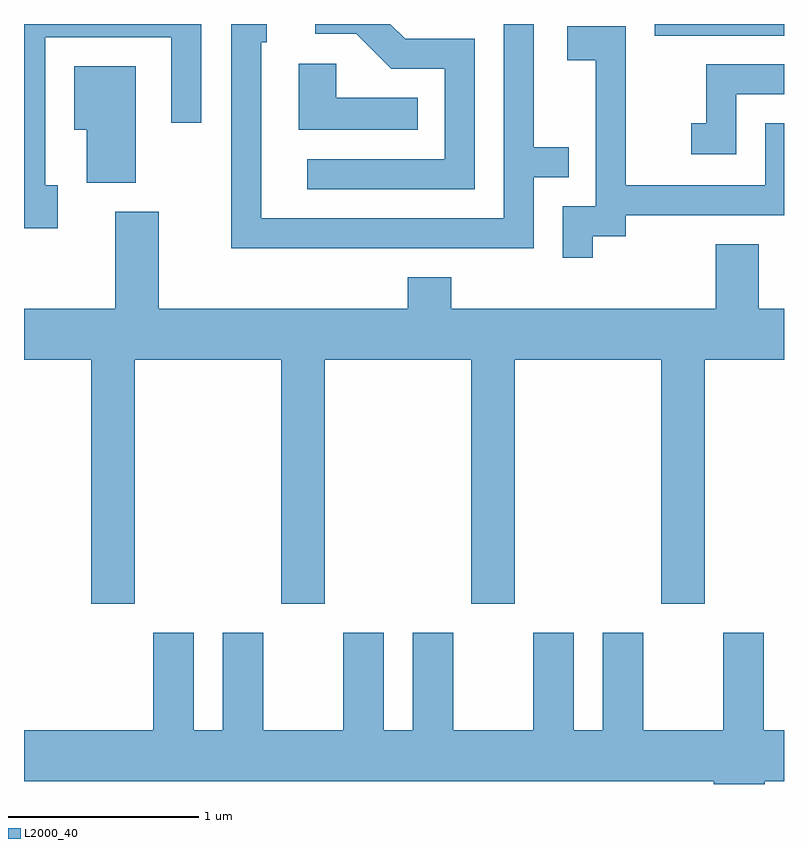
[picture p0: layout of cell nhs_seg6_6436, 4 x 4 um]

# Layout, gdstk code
import gdstk
lib = gdstk.Library(unit=1e-6, precision=1e-09)
def R(c, l, rs):  # rectangles x0, y0, x1, y1
    for r in rs: c.add(gdstk.rectangle(r[:2], r[2:], *l))
def P(c, l, *ps):  # polygons
    for p in ps: c.add(gdstk.Polygon(p, *l))
L2000_40 = (2000, 40)

nhs_seg6_6436 = lib.new_cell('nhs_seg6_6436')
R(nhs_seg6_6436, L2000_40, [(382.931,1636.101,383.611,1636.162)])
P(nhs_seg6_6436, L2000_40, [(379.789,1635.314),(379.724,1635.314),(379.724,1636.091),(380.386,1636.091),(380.386,1635.643),(380.544,1635.643),(380.544,1636.162),(379.611,1636.162),(379.611,1635.086),(379.789,1635.086)],
  [(382.294,1635.356),(382.478,1635.356),(382.478,1635.514),(382.294,1635.514),(382.294,1636.162),(382.136,1636.162),(382.136,1635.139),(380.859,1635.139),(380.859,1636.066),(380.889,1636.066),(380.889,1636.162),(380.701,1636.162),(380.701,1634.981),(382.294,1634.981)],
  [(381.984,1636.084),(381.617,1636.084),(381.539,1636.162),(381.143,1636.162),(381.143,1636.111),(381.359,1636.111),(381.544,1635.926),(381.826,1635.926),(381.826,1635.449),(381.103,1635.449),(381.103,1635.291),(381.984,1635.291)],
  [(382.604,1635.046),(382.779,1635.046),(382.779,1635.156),(383.611,1635.156),(383.611,1635.639),(383.511,1635.639),(383.511,1635.314),(382.779,1635.314),(382.779,1636.149),(382.471,1636.149),(382.471,1635.971),(382.621,1635.971),(382.621,1635.204),(382.446,1635.204),(382.446,1634.933),(382.604,1634.933)],
  [(381.683,1635.774),(381.254,1635.774),(381.254,1635.954),(381.056,1635.954),(381.056,1635.606),(381.683,1635.606)],
  [(383.359,1635.791),(383.611,1635.791),(383.611,1635.949),(383.201,1635.949),(383.201,1635.639),(383.123,1635.639),(383.123,1635.476),(383.359,1635.476)],
  [(380.199,1635.939),(379.876,1635.939),(379.876,1635.606),(379.941,1635.606),(379.941,1635.326),(380.199,1635.326)],
  [(380.194,1634.396),(380.966,1634.396),(380.966,1633.111),(381.194,1633.111),(381.194,1634.396),(381.966,1634.396),(381.966,1633.111),(382.194,1633.111),(382.194,1634.396),(382.966,1634.396),(382.966,1633.111),(383.194,1633.111),(383.194,1634.396),(383.611,1634.396),(383.611,1634.664),(383.479,1634.664),(383.479,1635.004),(383.251,1635.004),(383.251,1634.664),(381.859,1634.664),(381.859,1634.829),(381.631,1634.829),(381.631,1634.664),(380.319,1634.664),(380.319,1635.174),(380.091,1635.174),(380.091,1634.664),(379.611,1634.664),(379.611,1634.396),(379.966,1634.396),(379.966,1633.111),(380.194,1633.111)],
  [(380.656,1632.959),(380.656,1632.444),(380.504,1632.444),(380.504,1632.959),(380.291,1632.959),(380.291,1632.444),(379.611,1632.444),(379.611,1632.176),(383.241,1632.176),(383.241,1632.162),(383.509,1632.162),(383.509,1632.176),(383.611,1632.176),(383.611,1632.444),(383.504,1632.444),(383.504,1632.959),(383.291,1632.959),(383.291,1632.444),(382.869,1632.444),(382.869,1632.959),(382.656,1632.959),(382.656,1632.444),(382.504,1632.444),(382.504,1632.959),(382.291,1632.959),(382.291,1632.444),(381.869,1632.444),(381.869,1632.959),(381.656,1632.959),(381.656,1632.444),(381.504,1632.444),(381.504,1632.959),(381.291,1632.959),(381.291,1632.444),(380.869,1632.444),(380.869,1632.959)])

lib.write_gds('nhs_seg6_6436.gds')
